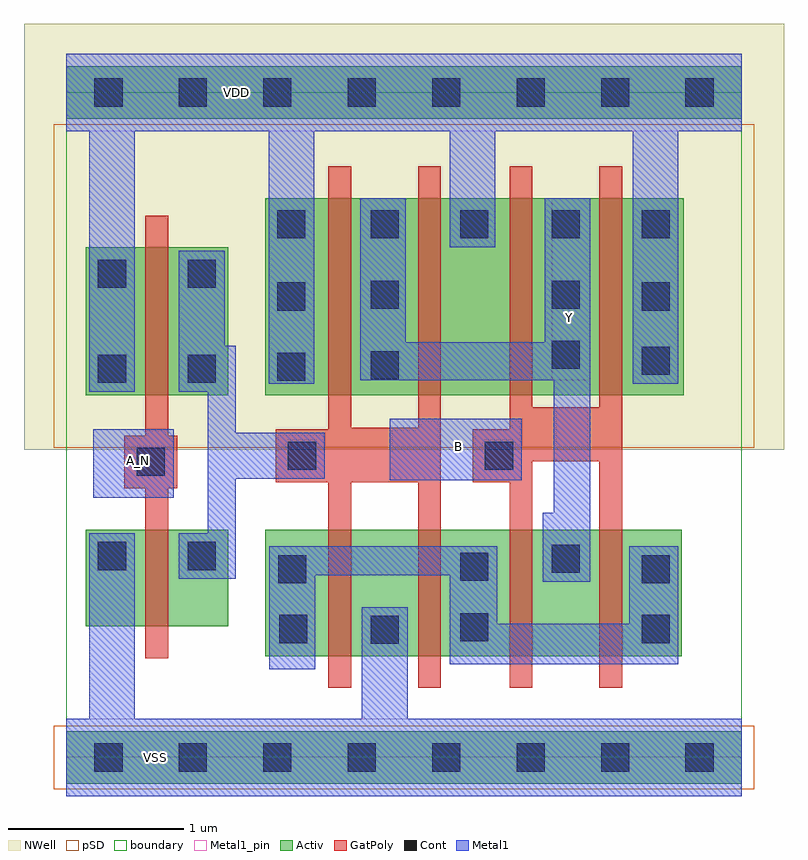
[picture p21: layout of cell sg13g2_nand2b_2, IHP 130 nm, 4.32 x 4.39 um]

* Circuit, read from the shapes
.subckt sg13g2_nand2b_2 A_N B VDD VSS Y
XM1 n1 A_N VSS VSS sg13_lv_nmos w=0.55u l=0.13u
XM2 VSS n1 n2 VSS sg13_lv_nmos w=0.72u l=0.13u m=2
XM3 Y B n2 VSS sg13_lv_nmos w=0.72u l=0.13u m=2
XM4 n1 A_N VDD VDD sg13_lv_pmos w=0.84u l=0.13u
XM5 Y n1 VDD VDD sg13_lv_pmos w=1.12u l=0.13u m=2
XM6 Y B VDD VDD sg13_lv_pmos w=1.12u l=0.13u m=2
.ends

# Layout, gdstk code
import gdstk
lib = gdstk.Library(unit=1e-6, precision=1e-09)
def R(c, l, rs):  # rectangles x0, y0, x1, y1
    for r in rs: c.add(gdstk.rectangle(r[:2], r[2:], *l))
def A(c, l, x, y, w, h, nx, ny, dx, dy):  # array of equal rectangles
    R(c, l, [(x+i*dx, y+j*dy, x+i*dx+w, y+j*dy+h) for i in range(nx) for j in range(ny)])
def P(c, l, *ps):  # polygons
    for p in ps: c.add(gdstk.Polygon(p, *l))
Activ = (1, 0)
GatPoly = (5, 0)
Cont = (6, 0)
Metal1 = (8, 0)
Metal1_pin = (8, 2)
pSD = (14, 0)
NWell = (31, 0)
boundary = (189, 4)

sg13g2_nand2b_2 = lib.new_cell('sg13g2_nand2b_2')
R(sg13g2_nand2b_2, Activ, [(0,-0.15,3.84,0.15), (1.13,0.575,3.5,1.295), (0.11,0.745,0.92,1.295), (0.11,2.06,0.92,2.9), (1.13,2.06,3.51,3.18), (0,3.63,3.84,3.93)])
P(sg13g2_nand2b_2, GatPoly, [(2.13,3.36),(2,3.36),(2,1.875),(1.62,1.875),(1.62,3.36),(1.49,3.36),(1.49,1.865),(1.19,1.865),(1.19,1.565),(1.49,1.565),(1.49,0.395),(1.62,0.395),(1.62,1.565),(2,1.565),(2,0.395),(2.13,0.395)],
  [(0.63,1.83),(0.58,1.83),(0.58,3.08),(0.45,3.08),(0.45,1.83),(0.33,1.83),(0.33,1.53),(0.45,1.53),(0.45,0.565),(0.58,0.565),(0.58,1.53),(0.63,1.53)],
  [(3.16,3.36),(3.03,3.36),(3.03,1.99),(2.65,1.99),(2.65,3.36),(2.52,3.36),(2.52,1.865),(2.31,1.865),(2.31,1.565),(2.52,1.565),(2.52,0.395),(2.65,0.395),(2.65,1.685),(3.03,1.685),(3.03,0.395),(3.16,0.395)])
A(sg13g2_nand2b_2, Cont, 0.16, -0.08, 0.16, 0.16, 8, 2, 0.48, 3.78)
A(sg13g2_nand2b_2, Cont, 1.73, 2.15, 0.16, 0.16, 1, 3, 0, 0.4)
R(sg13g2_nand2b_2, Cont, [(1.73,0.645,1.89,0.805), (1.21,0.65,1.37,0.81), (3.27,0.65,3.43,0.81), (2.24,0.66,2.4,0.82), (1.205,0.99,1.365,1.15), (3.27,0.99,3.43,1.15), (2.24,1.005,2.4,1.165), (2.76,1.05,2.92,1.21), (0.18,1.065,0.34,1.225), (0.69,1.065,0.85,1.225), (0.4,1.6,0.56,1.76), (1.26,1.635,1.42,1.795), (2.38,1.635,2.54,1.795), (0.18,2.13,0.34,2.29), (0.69,2.13,0.85,2.29), (1.2,2.14,1.36,2.3), (3.27,2.175,3.43,2.335), (2.76,2.21,2.92,2.37), (1.2,2.54,1.36,2.7), (3.27,2.54,3.43,2.7), (2.76,2.55,2.92,2.71), (0.18,2.67,0.34,2.83), (0.69,2.67,0.85,2.83), (1.2,2.95,1.36,3.11), (2.24,2.95,2.4,3.11), (2.76,2.95,2.92,3.11), (3.27,2.95,3.43,3.11)])
R(sg13g2_nand2b_2, Metal1, [(0.155,1.475,0.61,1.865), (1.84,1.575,2.59,1.925)])
P(sg13g2_nand2b_2, Metal1, [(3.48,1.2),(3.2,1.2),(3.2,0.76),(2.45,0.76),(2.45,1.2),(1.155,1.2),(1.155,0.5),(1.415,0.5),(1.415,1.035),(2.18,1.035),(2.18,0.53),(3.48,0.53)],
  [(2.98,3.18),(2.72,3.18),(2.72,2.36),(1.93,2.36),(1.93,3.18),(1.67,3.18),(1.67,2.145),(2.77,2.145),(2.77,1.39),(2.71,1.39),(2.71,1),(2.98,1)],
  [(3.84,0.22),(1.94,0.22),(1.94,0.855),(1.68,0.855),(1.68,0.22),(0.39,0.22),(0.39,1.275),(0.13,1.275),(0.13,0.22),(0,0.22),(0,-0.22),(3.84,-0.22)],
  [(1.47,1.845),(0.965,1.845),(0.965,2.34),(0.9,2.34),(0.9,2.88),(0.64,2.88),(0.64,2.08),(0.805,2.08),(0.805,1.275),(0.64,1.275),(0.64,1.015),(0.965,1.015),(0.965,1.585),(1.47,1.585)],
  [(3.84,4),(0,4),(0,3.56),(0.13,3.56),(0.13,2.08),(0.39,2.08),(0.39,3.56),(1.15,3.56),(1.15,2.125),(1.41,2.125),(1.41,3.56),(2.18,3.56),(2.18,2.9),(2.44,2.9),(2.44,3.56),(3.22,3.56),(3.22,2.125),(3.48,2.125),(3.48,3.56),(3.84,3.56)])
R(sg13g2_nand2b_2, Metal1_pin, [(0,-0.22,3.84,0.22), (0.155,1.475,0.61,1.865), (1.84,1.575,2.59,1.925), (2.76,2.145,2.98,3.18), (0,3.56,3.84,4)])
R(sg13g2_nand2b_2, pSD, [(-0.07,-0.18,3.91,0.18), (-0.07,1.76,3.91,3.6)])
R(sg13g2_nand2b_2, NWell, [(-0.24,1.75,4.08,4.17)])
R(sg13g2_nand2b_2, boundary, [(0,0,3.84,3.78)])
sg13g2_nand2b_2.add(gdstk.Label('A_N', (0.41,1.69), layer=8, texttype=25))
sg13g2_nand2b_2.add(gdstk.Label('Y', (2.86,2.5), layer=8, texttype=25))
sg13g2_nand2b_2.add(gdstk.Label('VDD', (0.97,3.78), layer=8, texttype=25))
sg13g2_nand2b_2.add(gdstk.Label('VSS', (0.51,0), layer=8, texttype=25))
sg13g2_nand2b_2.add(gdstk.Label('B', (2.23,1.765), layer=8, texttype=25))

lib.write_gds('sg13g2_nand2b_2.gds')
